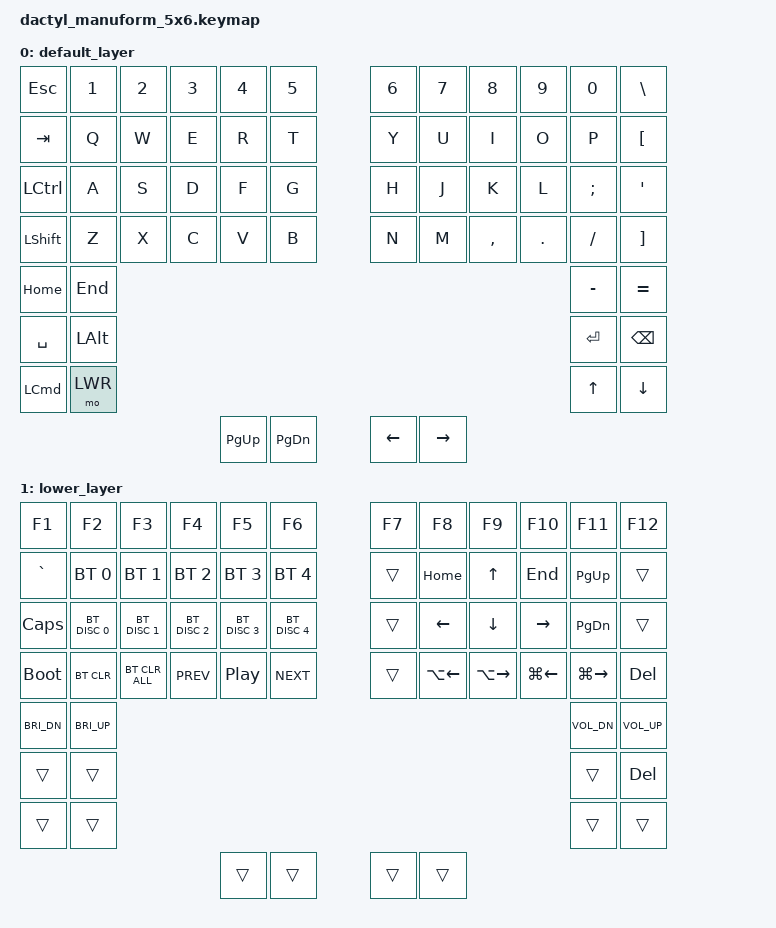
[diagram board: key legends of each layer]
#include <behaviors.dtsi>
#include <dt-bindings/zmk/bt.h>
#include <dt-bindings/zmk/keys.h>

#define DEFAULT 0
#define LWR 1

/ {
    combos {
        compatible = "zmk,combos";

        /*
         * Emergency bootloader combo.
         * Kept from your original keymap.
         */
        BootL {
            bindings = <&bootloader>;
            key-positions = <16 15 24 36>;
        };
    };

    keymap {
        compatible = "zmk,keymap";

        default_layer {
            bindings = <
/* LEFT MAIN ─────────────────────────────────────────────── RIGHT MAIN ────────────────────────────────────────────── */
/* esc      1       2       3       4       5               6       7       8       9       0       \ |              */
   &kp ESC   &kp N1  &kp N2  &kp N3  &kp N4  &kp N5          &kp N6  &kp N7  &kp N8  &kp N9  &kp N0  &kp BACKSLASH

/* tab      Q       W       E       R       T               Y       U       I       O       P       [ {              */
   &kp TAB   &kp Q   &kp W   &kp E   &kp R   &kp T           &kp Y   &kp U   &kp I   &kp O   &kp P   &kp LEFT_BRACKET

/* ctrl     A       S       D       F       G               H       J       K       L       ; :     ' "              */
   &kp LCTRL &kp A   &kp S   &kp D   &kp F   &kp G           &kp H   &kp J   &kp K   &kp L   &kp SEMI &kp SQT

/* shift    Z       X       C       V       B               N       M       , <     . >     / ?     ] }              */
   &kp LSHFT &kp Z   &kp X   &kp C   &kp V   &kp B           &kp N   &kp M   &kp COMMA &kp DOT &kp SLASH &kp RIGHT_BRACKET

/*                         home    end                                      - _     = +                              */
                              &kp HOME &kp END                              &kp MINUS &kp EQUAL

/*                                 space   option                  return   delete/backspace                         */
                                      &kp SPACE &kp LALT           &kp RET  &kp BACKSPACE

/*                                          command Lower          up       down                                     */
                                                &kp LCMD &mo LWR   &kp UP_ARROW &kp DOWN_ARROW

/*                                          pageup  pagedown       left     right                                    */
                                                &kp PAGE_UP &kp PAGE_DOWN &kp LEFT_ARROW &kp RIGHT_ARROW
            >;
        };

        lower_layer {
            bindings = <
/* LOWER: F-KEYS ─────────────────────────────────────────── */
/* F1          F2          F3          F4          F5          F6              F7          F8          F9          F10         F11         F12 */
   &kp F1      &kp F2      &kp F3      &kp F4      &kp F5      &kp F6          &kp F7      &kp F8      &kp F9      &kp F10     &kp F11     &kp F12

/* LOWER: BT SELECT + NAV ────────────────────────────────── */
/* ` ~         BT0         BT1         BT2         BT3         BT4             —           home        up          end         pgup        —   */
   &kp GRAVE   &bt BT_SEL 0 &bt BT_SEL 1 &bt BT_SEL 2 &bt BT_SEL 3 &bt BT_SEL 4 &trans      &kp HOME    &kp UP_ARROW &kp END    &kp PAGE_UP &trans

/* LOWER: BT DISCONNECT + NAV ────────────────────────────── */
/* caps        dis0        dis1        dis2        dis3        dis4            —           left        down        right       pgdn        —   */
   &kp CAPS    &bt BT_DISC 0 &bt BT_DISC 1 &bt BT_DISC 2 &bt BT_DISC 3 &bt BT_DISC 4 &trans &kp LEFT_ARROW &kp DOWN_ARROW &kp RIGHT_ARROW &kp PAGE_DOWN &trans

/* LOWER: BT CLEAR + MEDIA + MAC TEXT NAV ────────────────── */
/* boot        clear       clear-all   prev        play/pause  next            —           word←       word→       line←       line→       fwd-del */
   &bootloader &bt BT_CLR  &bt BT_CLR_ALL &kp C_PREV &kp C_PLAY_PAUSE &kp C_NEXT &trans     &kp LA(LEFT_ARROW) &kp LA(RIGHT_ARROW) &kp LG(LEFT_ARROW) &kp LG(RIGHT_ARROW) &kp DEL

/*                         bright-     bright+                                  vol-        vol+                     */
                              &kp C_BRI_DN &kp C_BRI_UP                         &kp C_VOL_DN &kp C_VOL_UP

/*                                   transparent transparent          transparent forward-delete                      */
                                      &trans      &trans                         &trans       &kp DEL

/*                                             transparent transparent transparent transparent                        */
                                                   &trans &trans                 &trans       &trans

/*                                             transparent transparent transparent transparent                        */
                                                   &trans &trans                 &trans       &trans
            >;
        };
    };
};
